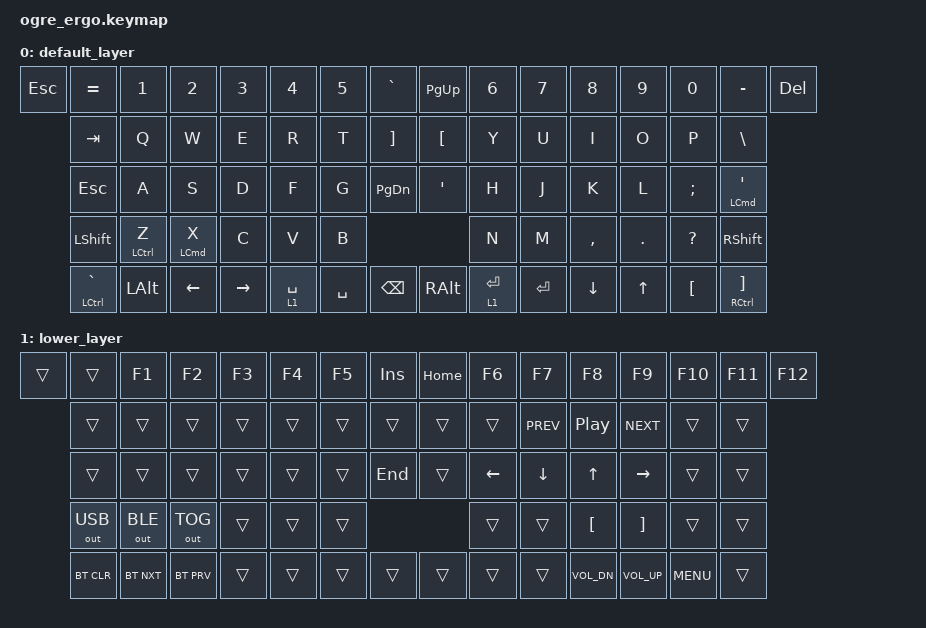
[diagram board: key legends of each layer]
#include <behaviors.dtsi>
#include <dt-bindings/zmk/keys.h>
#include <dt-bindings/zmk/outputs.h>
#include <dt-bindings/zmk/bt.h>

#define DEF 0
#define LWR 1

/ {
	keymap {
		compatible = "zmk,keymap";

		default_layer {
			bindings = <
&kp ESC  &kp EQUAL        &kp N1        &kp N2      &kp N3      &kp N4         &kp N5      &kp GRAVE         &kp PG_UP    &kp N6     &kp N7   &kp N8     &kp N9   &kp N0     &kp MINUS  &kp DELETE
         &kp TAB          &kp Q         &kp W       &kp E       &kp R          &kp T       &kp RBKT          &kp LBKT     &kp Y      &kp U    &kp I      &kp O    &kp P      &kp BSLH
         &kp ESC          &kp A         &kp S       &kp D       &kp F          &kp G       &kp PG_DN         &kp SQT      &kp H      &kp J    &kp K      &kp L    &kp SEMI   &mt LCMD SQT
         &kp LSHFT        &mt LCTRL Z   &mt LCMD X  &kp C       &kp V          &kp B                                      &kp N      &kp M    &kp COMMA  &kp DOT  &kp QMARK  &kp RSHFT
         &mt LCTRL GRAVE  &kp LALT      &kp LEFT    &kp RIGHT   &lt 1 SPACE    &kp SPACE   &kp BSPC          &kp RALT     &lt 1 RET  &kp RET  &kp DOWN   &kp UP   &kp LBKT   &mt RCTL RBKT
			>;
		};

		lower_layer {
			bindings = <
&trans  &trans        &kp F1        &kp F2        &kp F3  &kp F4  &kp F5  &kp INS  &kp HOME  &kp F6    &kp F7      &kp F8        &kp F9        &kp F10      &kp F11  &kp F12
        &trans        &trans        &trans        &trans  &trans  &trans  &trans   &trans    &trans    &kp C_PREV  &kp C_PP      &kp C_NEXT    &trans       &trans
        &trans        &trans        &trans        &trans  &trans  &trans  &kp END  &trans    &kp LEFT  &kp DOWN    &kp UP        &kp RIGHT     &trans       &trans
        &out OUT_USB  &out OUT_BLE  &out OUT_TOG  &trans  &trans  &trans                     &trans    &trans      &kp LBKT      &kp RBKT      &trans       &trans
        &bt BT_CLR    &bt BT_NXT    &bt BT_PRV    &trans  &trans  &trans  &trans   &trans    &trans    &trans      &kp C_VOL_DN  &kp C_VOL_UP  &kp C_MENU   &trans
			>;
		};

		};
  };
